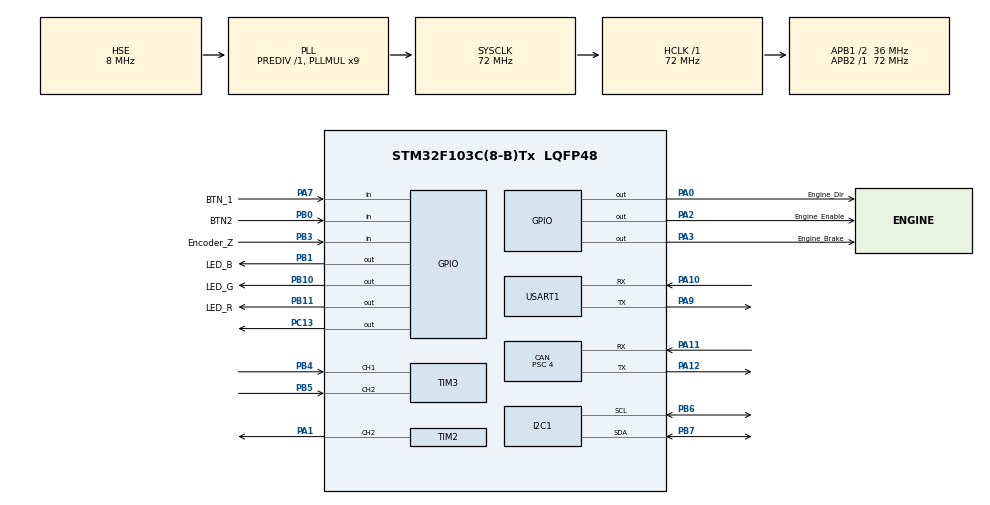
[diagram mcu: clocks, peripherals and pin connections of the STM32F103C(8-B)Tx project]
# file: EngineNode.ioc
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CAN.BS1=CAN_BS1_13TQ
CAN.BS2=CAN_BS2_4TQ
CAN.CalculateBaudRate=500000
CAN.CalculateTimeBit=2000
CAN.CalculateTimeQuantum=111.11111111111111
CAN.NART=DISABLE
CAN.Prescaler=4
CAN.SJW=CAN_SJW_1TQ
CAN.TXFP=ENABLE
Dma.I2C1_RX.2.Direction=DMA_PERIPH_TO_MEMORY
Dma.I2C1_RX.2.Instance=DMA1_Channel7
Dma.I2C1_RX.2.MemDataAlignment=DMA_MDATAALIGN_BYTE
Dma.I2C1_RX.2.MemInc=DMA_MINC_ENABLE
Dma.I2C1_RX.2.Mode=DMA_NORMAL
Dma.I2C1_RX.2.PeriphDataAlignment=DMA_PDATAALIGN_BYTE
Dma.I2C1_RX.2.PeriphInc=DMA_PINC_DISABLE
Dma.I2C1_RX.2.Priority=DMA_PRIORITY_LOW
Dma.I2C1_TX.3.Direction=DMA_MEMORY_TO_PERIPH
Dma.I2C1_TX.3.Instance=DMA1_Channel6
Dma.I2C1_TX.3.MemDataAlignment=DMA_MDATAALIGN_BYTE
Dma.I2C1_TX.3.MemInc=DMA_MINC_ENABLE
Dma.I2C1_TX.3.Mode=DMA_NORMAL
Dma.I2C1_TX.3.PeriphDataAlignment=DMA_PDATAALIGN_BYTE
Dma.I2C1_TX.3.PeriphInc=DMA_PINC_DISABLE
Dma.I2C1_TX.3.Priority=DMA_PRIORITY_LOW
Dma.MEMTOMEM.4.Direction=DMA_MEMORY_TO_MEMORY
Dma.MEMTOMEM.4.Instance=DMA1_Channel1
Dma.MEMTOMEM.4.MemDataAlignment=DMA_MDATAALIGN_BYTE
Dma.MEMTOMEM.4.MemInc=DMA_MINC_ENABLE
Dma.MEMTOMEM.4.Mode=DMA_NORMAL
Dma.MEMTOMEM.4.PeriphDataAlignment=DMA_PDATAALIGN_BYTE
Dma.MEMTOMEM.4.PeriphInc=DMA_PINC_ENABLE
Dma.MEMTOMEM.4.Priority=DMA_PRIORITY_LOW
Dma.Request0=USART1_RX
Dma.Request1=USART1_TX
Dma.Request2=I2C1_RX
Dma.Request3=I2C1_TX
Dma.Request4=MEMTOMEM
Dma.USART1_RX.0.Direction=DMA_PERIPH_TO_MEMORY
Dma.USART1_RX.0.Instance=DMA1_Channel5
Dma.USART1_RX.0.MemDataAlignment=DMA_MDATAALIGN_BYTE
Dma.USART1_RX.0.MemInc=DMA_MINC_ENABLE
Dma.USART1_RX.0.Mode=DMA_NORMAL
Dma.USART1_RX.0.PeriphDataAlignment=DMA_PDATAALIGN_BYTE
Dma.USART1_RX.0.PeriphInc=DMA_PINC_DISABLE
Dma.USART1_RX.0.Priority=DMA_PRIORITY_LOW
Dma.USART1_TX.1.Direction=DMA_MEMORY_TO_PERIPH
Dma.USART1_TX.1.Instance=DMA1_Channel4
Dma.USART1_TX.1.MemDataAlignment=DMA_MDATAALIGN_BYTE
Dma.USART1_TX.1.MemInc=DMA_MINC_ENABLE
Dma.USART1_TX.1.Mode=DMA_NORMAL
Dma.USART1_TX.1.PeriphDataAlignment=DMA_PDATAALIGN_BYTE
Dma.USART1_TX.1.PeriphInc=DMA_PINC_DISABLE
Dma.USART1_TX.1.Priority=DMA_PRIORITY_LOW
FREERTOS.INCLUDE_xEventGroupSetBitFromISR=1
FREERTOS.Tasks01=tDefault,52,200,StartDefaultTask,Default,NULL,Dynamic,NULL,NULL
FREERTOS.configENABLE_BACKWARD_COMPATIBILITY=0
FREERTOS.configMAX_TASK_NAME_LEN=12
FREERTOS.configMINIMAL_STACK_SIZE=64
FREERTOS.configTIMER_TASK_STACK_DEPTH=64
FREERTOS.configTOTAL_HEAP_SIZE=8192
FREERTOS.configUSE_NEWLIB_REENTRANT=1
FREERTOS.configUSE_TRACE_FACILITY=1
I2C1.I2C_Mode=I2C_Fast
Mcu.Family=STM32F1
Mcu.Name=STM32F103C(8-B)Tx
Mcu.Package=LQFP48
NVIC.CAN1_RX1_IRQn=true\:5\:0\:false\:false\:true\:true\:true\:true\:true
NVIC.DMA1_Channel4_IRQn=true\:5\:0\:false\:false\:true\:true\:false\:true\:true
NVIC.DMA1_Channel5_IRQn=true\:5\:0\:false\:false\:true\:true\:false\:true\:true
NVIC.DMA1_Channel6_IRQn=true\:5\:0\:false\:false\:true\:true\:false\:true\:true
NVIC.DMA1_Channel7_IRQn=true\:5\:0\:false\:false\:true\:true\:false\:true\:true
NVIC.I2C1_EV_IRQn=true\:5\:0\:false\:false\:true\:true\:true\:true\:true
NVIC.PriorityGroup=NVIC_PRIORITYGROUP_4
NVIC.TIM4_IRQn=true\:15\:0\:false\:false\:true\:false\:false\:true\:true
NVIC.TimeBase=TIM4_IRQn
NVIC.TimeBaseIP=TIM4
NVIC.USB_HP_CAN1_TX_IRQn=true\:5\:0\:true\:false\:true\:true\:true\:true\:true
NVIC.USB_LP_CAN1_RX0_IRQn=true\:5\:0\:false\:false\:true\:true\:true\:true\:true
PA0-WKUP.GPIO_Label=Engine_Dir
PA0-WKUP.Signal=GPIO_Output
PA1.Signal=S_TIM2_CH2
PA10.Mode=Asynchronous
PA10.Signal=USART1_RX
PA11.Mode=CAN_Activate
PA11.Signal=CAN_RX
PA12.Mode=CAN_Activate
PA12.Signal=CAN_TX
PA13.Mode=Serial_Wire
PA13.Signal=SYS_JTMS-SWDIO
PA14.Mode=Serial_Wire
PA14.Signal=SYS_JTCK-SWCLK
PA2.GPIO_Label=Engine_Enable
PA2.Signal=GPIO_Output
PA3.GPIO_Label=Engine_Brake
PA3.Signal=GPIO_Output
PA7.GPIO_Label=BTN_1
PA7.Signal=GPIO_Input
PA9.Mode=Asynchronous
PA9.Signal=USART1_TX
PB0.GPIO_Label=BTN2
PB0.Signal=GPIO_Input
PB1.GPIO_Label=LED_B
PB1.PinState=GPIO_PIN_SET
PB1.Signal=GPIO_Output
PB10.GPIO_Label=LED_G
PB10.PinState=GPIO_PIN_SET
PB10.Signal=GPIO_Output
PB11.GPIO_Label=LED_R
PB11.PinState=GPIO_PIN_SET
PB11.Signal=GPIO_Output
PB3.GPIO_Label=Encoder_Z
PB3.Signal=GPIO_Input
PB4.Signal=S_TIM3_CH1
PB5.Signal=S_TIM3_CH2
PB6.Mode=I2C
PB6.Signal=I2C1_SCL
PB7.Mode=I2C
PB7.Signal=I2C1_SDA
PC13-TAMPER-RTC.Signal=GPIO_Output
PD0-OSC_IN.Mode=HSE-External-Oscillator
PD0-OSC_IN.Signal=RCC_OSC_IN
PD1-OSC_OUT.Mode=HSE-External-Oscillator
PD1-OSC_OUT.Signal=RCC_OSC_OUT
ProjectManager.HeapSize=0x200
ProjectManager.StackSize=0x400
ProjectManager.TargetToolchain=STM32CubeIDE
RCC.AHBFreq_Value=72000000
RCC.APB1CLKDivider=RCC_HCLK_DIV2
RCC.APB1Freq_Value=36000000
RCC.APB1TimFreq_Value=72000000
RCC.APB2Freq_Value=72000000
RCC.APB2TimFreq_Value=72000000
RCC.HCLKFreq_Value=72000000
RCC.PLLMUL=RCC_PLL_MUL9
RCC.PLLSourceVirtual=RCC_PLLSOURCE_HSE
RCC.SYSCLKFreq_VALUE=72000000
RCC.SYSCLKSource=RCC_SYSCLKSOURCE_PLLCLK
RCC.USBFreq_Value=72000000
SH.S_TIM2_CH2.0=TIM2_CH2,PWM Generation2 CH2
SH.S_TIM3_CH1.0=TIM3_CH1,Encoder_Interface
SH.S_TIM3_CH2.0=TIM3_CH2,Encoder_Interface
TIM2.Channel-PWM\ Generation2\ CH2=TIM_CHANNEL_2
TIM3.EncoderMode=TIM_ENCODERMODE_TI12
USART1.VirtualMode=VM_ASYNC
VP_FREERTOS_VS_CMSIS_V2.Mode=CMSIS_V2
VP_SYS_VS_tim4.Mode=TIM4
board=custom

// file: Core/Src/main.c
/* USER CODE BEGIN Header */
/**
 ******************************************************************************
 * @file           : main.c
 * @brief          : Main program body
 ******************************************************************************
 * @attention
 *
 * Copyright (c) 2023 STMicroelectronics.
 * All rights reserved.
 *
 * This software is licensed under terms that can be found in the LICENSE file
 * in the root directory of this software component.
 * If no LICENSE file comes with this software, it is provided AS-IS.
 *
 ******************************************************************************
 */
/* USER CODE END Header */
#include "main.h"
#include "cmsis_os.h"

/* USER CODE BEGIN Includes */
#include "SyncPrintf/SyncPrintf.h"
#include "GPIO/GPIOHandler.h"
#include "UARTHandler/UART_Handler.h"
#include "I2CHandler/I2C_Handler.h"
#include "CANHandler/CANHandler.h"
#include "INA219/INA219.h"
#include "BNO055/bno055.h"
#include "CANFrame/CANFrame.h"
#include "PowerPublisher/PowerPublisher.h"
#include "EngineControl/EngineControl.h"
#include "Encoder/Encoder.h"
#include "MotorController/SpeedController.h"
#include "IMUPublisher/IMUPublisher.h"
#include "DataProcess/DataProcess.h"
#include "Utility/Utility.h"
#include "CAN_Handle.h"
//#include "CAN_OSI.h"
/* USER CODE END Includes */

CAN_HandleTypeDef hcan;

I2C_HandleTypeDef hi2c1;
DMA_HandleTypeDef hdma_i2c1_rx;
DMA_HandleTypeDef hdma_i2c1_tx;

TIM_HandleTypeDef htim2;
TIM_HandleTypeDef htim3;

UART_HandleTypeDef huart1;
DMA_HandleTypeDef hdma_usart1_rx;
DMA_HandleTypeDef hdma_usart1_tx;

DMA_HandleTypeDef hdma_memtomem_dma1_channel1;
/* Definitions for tDefault */
osThreadId_t tDefaultHandle;
const osThreadAttr_t tDefault_attributes = { .name = "tDefault", .stack_size =
		200 * 4, .priority = (osPriority_t) osPriorityRealtime4, };
/* USER CODE BEGIN PV */

osThreadId_t TestTaskHandle;
const osThreadAttr_t TestTask_attributes = { .name = "TestTask", .stack_size =
		200 * 4, .priority = (osPriority_t) osPriorityNormal2, };

GPIO_HandlerStruct Blinker = { .Port = GPIOC, .Pin = GPIO_PIN_13 };
GPIO_HandlerStruct BrakePin = { .Port = Engine_Brake_GPIO_Port, .Pin =
Engine_Brake_Pin };
GPIO_HandlerStruct GasEnPin = { .Port = Engine_Enable_GPIO_Port, .Pin =
Engine_Enable_Pin };
GPIO_HandlerStruct DirPin = { .Port = Engine_Dir_GPIO_Port, .Pin =
Engine_Dir_Pin };

I2C_OS_HandlerStruct mainI2C;
INA219_t INA219_main;
BNO055_HandlerStruct imuBNO055;

CAN_OS_HandlerStruct CANmain;
CANFrame_HandlerStruct CANFrame_Handler;

Encoder_HandlerStruct Encoder;
Engine_HandlerStruct Engine;
SpeedControler_HandlerStruct SpeedController;

PowerPublisher_HandlerStruct PowerPub;
//float Speed = 0;
IMUPublisher_HandlerStruct IMUPub;
float Speed;
bool SpeedOk;
uint8_t Break = 0;
bool braking = false;
float curSpeed = 0;
extern uint8_t rcdata[8];
extern uint8_t Can_RecFlag;
//float Speed = 0;
/* USER CODE END PV */

void SystemClock_Config(void);
static void MX_GPIO_Init(void);
static void MX_DMA_Init(void);
static void MX_CAN_Init(void);
static void MX_I2C1_Init(void);
static void MX_TIM2_Init(void);
static void MX_TIM3_Init(void);
static void MX_USART1_UART_Init(void);
void StartDefaultTask(void *argument);

/* USER CODE BEGIN PFP */
void TestTask(void *argument);

void CAN_TxCallback(CAN_HandleTypeDef *hcan);
void CAN_RxFifo0Callback(CAN_HandleTypeDef *hcan);

/* USER CODE END PFP */

int main(void) {

	/* MCU Configuration--------------------------------------------------------*/

	/* Reset of all peripherals, Initializes the Flash interface and the Systick. */
	HAL_Init();

	/* Configure the system clock */
	SystemClock_Config();

	/* Initialize all configured peripherals */
	MX_GPIO_Init();
	MX_DMA_Init();
	MX_CAN_Init();
	MX_I2C1_Init();
	MX_TIM2_Init();
	MX_TIM3_Init();
	MX_USART1_UART_Init();
	/* USER CODE BEGIN 2 */
//  HAL_GPIO_WritePin(Engine_Brake_GPIO_Port, Engine_Brake_Pin, 0);
//  HAL_GPIO_WritePin(Engine_Brake_GPIO_Port, Engine_Brake_Pin, 1);
	CAN_Config_filtering(0, 0x112);
	if (HAL_CAN_ActivateNotification(&hcan,
			CAN_IT_TX_MAILBOX_EMPTY | CAN_IT_RX_FIFO0_MSG_PENDING
					| CAN_IT_RX_FIFO1_MSG_PENDING) != HAL_OK) {
		HAL_CAN_ResetError(&hcan);
	}
	if (HAL_CAN_Start(&hcan) != HAL_OK) {
		HAL_CAN_ResetError(&hcan);
	}
	/* USER CODE END 2 */

	/* Init scheduler */
	osKernelInitialize();

	/* Create the thread(s) */
	/* creation of tDefault */
	tDefaultHandle = osThreadNew(StartDefaultTask, NULL, &tDefault_attributes);

	/* USER CODE BEGIN RTOS_EVENTS */
	/* add events, ... */
	SyncPrintf_Init();

	/* USER CODE END RTOS_EVENTS */

	/* Start scheduler */
	osKernelStart();

	/* We should never get here as control is now taken by the scheduler */
	/* Infinite loop */
	while (1) {

	}
}

void SystemClock_Config(void) {
	RCC_OscInitTypeDef RCC_OscInitStruct = { 0 };
	RCC_ClkInitTypeDef RCC_ClkInitStruct = { 0 };

	/** Initializes the RCC Oscillators according to the specified parameters
	 * in the RCC_OscInitTypeDef structure.
	 */
	RCC_OscInitStruct.OscillatorType = RCC_OSCILLATORTYPE_HSE;
	RCC_OscInitStruct.HSEState = RCC_HSE_ON;
	RCC_OscInitStruct.HSEPredivValue = RCC_HSE_PREDIV_DIV1;
	RCC_OscInitStruct.HSIState = RCC_HSI_ON;
	RCC_OscInitStruct.PLL.PLLState = RCC_PLL_ON;
	RCC_OscInitStruct.PLL.PLLSource = RCC_PLLSOURCE_HSE;
	RCC_OscInitStruct.PLL.PLLMUL = RCC_PLL_MUL9;
	if (HAL_RCC_OscConfig(&RCC_OscInitStruct) != HAL_OK) {
		Error_Handler();
	}

	/** Initializes the CPU, AHB and APB buses clocks
	 */
	RCC_ClkInitStruct.ClockType = RCC_CLOCKTYPE_HCLK | RCC_CLOCKTYPE_SYSCLK
			| RCC_CLOCKTYPE_PCLK1 | RCC_CLOCKTYPE_PCLK2;
	RCC_ClkInitStruct.SYSCLKSource = RCC_SYSCLKSOURCE_PLLCLK;
	RCC_ClkInitStruct.AHBCLKDivider = RCC_SYSCLK_DIV1;
	RCC_ClkInitStruct.APB1CLKDivider = RCC_HCLK_DIV2;
	RCC_ClkInitStruct.APB2CLKDivider = RCC_HCLK_DIV1;

	if (HAL_RCC_ClockConfig(&RCC_ClkInitStruct, FLASH_LATENCY_2) != HAL_OK) {
		Error_Handler();
	}
}

static void MX_CAN_Init(void) {

	hcan.Instance = CAN1;
	hcan.Init.Prescaler = 4;
	hcan.Init.Mode = CAN_MODE_NORMAL;
	hcan.Init.SyncJumpWidth = CAN_SJW_1TQ;
	hcan.Init.TimeSeg1 = CAN_BS1_13TQ;
	hcan.Init.TimeSeg2 = CAN_BS2_4TQ;
	hcan.Init.TimeTriggeredMode = DISABLE;
	hcan.Init.AutoBusOff = DISABLE;
	hcan.Init.AutoWakeUp = DISABLE;
	hcan.Init.AutoRetransmission = DISABLE;
	hcan.Init.ReceiveFifoLocked = DISABLE;
	hcan.Init.TransmitFifoPriority = ENABLE;
	if (HAL_CAN_Init(&hcan) != HAL_OK) {
		Error_Handler();
	}

}

static void MX_I2C1_Init(void) {

	hi2c1.Instance = I2C1;
	hi2c1.Init.ClockSpeed = 400000;
	hi2c1.Init.DutyCycle = I2C_DUTYCYCLE_2;
	hi2c1.Init.OwnAddress1 = 0;
	hi2c1.Init.AddressingMode = I2C_ADDRESSINGMODE_7BIT;
	hi2c1.Init.DualAddressMode = I2C_DUALADDRESS_DISABLE;
	hi2c1.Init.OwnAddress2 = 0;
	hi2c1.Init.GeneralCallMode = I2C_GENERALCALL_DISABLE;
	hi2c1.Init.NoStretchMode = I2C_NOSTRETCH_DISABLE;
	if (HAL_I2C_Init(&hi2c1) != HAL_OK) {
		Error_Handler();
	}

}

static void MX_TIM2_Init(void) {

	TIM_MasterConfigTypeDef sMasterConfig = { 0 };
	TIM_OC_InitTypeDef sConfigOC = { 0 };

	htim2.Instance = TIM2;
	htim2.Init.Prescaler = 0;
	htim2.Init.CounterMode = TIM_COUNTERMODE_UP;
	htim2.Init.Period = 65535;
	htim2.Init.ClockDivision = TIM_CLOCKDIVISION_DIV1;
	htim2.Init.AutoReloadPreload = TIM_AUTORELOAD_PRELOAD_DISABLE;
	if (HAL_TIM_PWM_Init(&htim2) != HAL_OK) {
		Error_Handler();
	}
	sMasterConfig.MasterOutputTrigger = TIM_TRGO_RESET;
	sMasterConfig.MasterSlaveMode = TIM_MASTERSLAVEMODE_DISABLE;
	if (HAL_TIMEx_MasterConfigSynchronization(&htim2, &sMasterConfig)
			!= HAL_OK) {
		Error_Handler();
	}
	sConfigOC.OCMode = TIM_OCMODE_PWM1;
	sConfigOC.Pulse = 0;
	sConfigOC.OCPolarity = TIM_OCPOLARITY_HIGH;
	sConfigOC.OCFastMode = TIM_OCFAST_DISABLE;
	if (HAL_TIM_PWM_ConfigChannel(&htim2, &sConfigOC, TIM_CHANNEL_2)
			!= HAL_OK) {
		Error_Handler();
	}
	HAL_TIM_MspPostInit(&htim2);

}

static void MX_TIM3_Init(void) {

	TIM_Encoder_InitTypeDef sConfig = { 0 };
	TIM_MasterConfigTypeDef sMasterConfig = { 0 };

	htim3.Instance = TIM3;
	htim3.Init.Prescaler = 0;
	htim3.Init.CounterMode = TIM_COUNTERMODE_UP;
	htim3.Init.Period = 65535;
	htim3.Init.ClockDivision = TIM_CLOCKDIVISION_DIV1;
	htim3.Init.AutoReloadPreload = TIM_AUTORELOAD_PRELOAD_DISABLE;
	sConfig.EncoderMode = TIM_ENCODERMODE_TI12;
	sConfig.IC1Polarity = TIM_ICPOLARITY_RISING;
	sConfig.IC1Selection = TIM_ICSELECTION_DIRECTTI;
	sConfig.IC1Prescaler = TIM_ICPSC_DIV1;
	sConfig.IC1Filter = 0;
	sConfig.IC2Polarity = TIM_ICPOLARITY_RISING;
	sConfig.IC2Selection = TIM_ICSELECTION_DIRECTTI;
	sConfig.IC2Prescaler = TIM_ICPSC_DIV1;
	sConfig.IC2Filter = 0;
	if (HAL_TIM_Encoder_Init(&htim3, &sConfig) != HAL_OK) {
		Error_Handler();
	}
	sMasterConfig.MasterOutputTrigger = TIM_TRGO_RESET;
	sMasterConfig.MasterSlaveMode = TIM_MASTERSLAVEMODE_DISABLE;
	if (HAL_TIMEx_MasterConfigSynchronization(&htim3, &sMasterConfig)
			!= HAL_OK) {
		Error_Handler();
	}

}

static void MX_USART1_UART_Init(void) {

	huart1.Instance = USART1;
	huart1.Init.BaudRate = 115200;
	huart1.Init.WordLength = UART_WORDLENGTH_8B;
	huart1.Init.StopBits = UART_STOPBITS_1;
	huart1.Init.Parity = UART_PARITY_NONE;
	huart1.Init.Mode = UART_MODE_TX_RX;
	huart1.Init.HwFlowCtl = UART_HWCONTROL_NONE;
	huart1.Init.OverSampling = UART_OVERSAMPLING_16;
	if (HAL_UART_Init(&huart1) != HAL_OK) {
		Error_Handler();
	}

}

static void MX_DMA_Init(void) {

	/* DMA controller clock enable */
	__HAL_RCC_DMA1_CLK_ENABLE();

	/* Configure DMA request hdma_memtomem_dma1_channel1 on DMA1_Channel1 */
	hdma_memtomem_dma1_channel1.Instance = DMA1_Channel1;
	hdma_memtomem_dma1_channel1.Init.Direction = DMA_MEMORY_TO_MEMORY;
	hdma_memtomem_dma1_channel1.Init.PeriphInc = DMA_PINC_ENABLE;
	hdma_memtomem_dma1_channel1.Init.MemInc = DMA_MINC_ENABLE;
	hdma_memtomem_dma1_channel1.Init.PeriphDataAlignment = DMA_PDATAALIGN_BYTE;
	hdma_memtomem_dma1_channel1.Init.MemDataAlignment = DMA_MDATAALIGN_BYTE;
	hdma_memtomem_dma1_channel1.Init.Mode = DMA_NORMAL;
	hdma_memtomem_dma1_channel1.Init.Priority = DMA_PRIORITY_LOW;
	if (HAL_DMA_Init(&hdma_memtomem_dma1_channel1) != HAL_OK) {
		Error_Handler();
	}

	/* DMA interrupt init */
	/* DMA1_Channel4_IRQn interrupt configuration */
	HAL_NVIC_SetPriority(DMA1_Channel4_IRQn, 5, 0);
	HAL_NVIC_EnableIRQ(DMA1_Channel4_IRQn);
	/* DMA1_Channel5_IRQn interrupt configuration */
	HAL_NVIC_SetPriority(DMA1_Channel5_IRQn, 5, 0);
	HAL_NVIC_EnableIRQ(DMA1_Channel5_IRQn);
	/* DMA1_Channel6_IRQn interrupt configuration */
	HAL_NVIC_SetPriority(DMA1_Channel6_IRQn, 5, 0);
	HAL_NVIC_EnableIRQ(DMA1_Channel6_IRQn);
	/* DMA1_Channel7_IRQn interrupt configuration */
	HAL_NVIC_SetPriority(DMA1_Channel7_IRQn, 5, 0);
	HAL_NVIC_EnableIRQ(DMA1_Channel7_IRQn);

}

static void MX_GPIO_Init(void) {
	GPIO_InitTypeDef GPIO_InitStruct = { 0 };

	/* GPIO Ports Clock Enable */
	__HAL_RCC_GPIOC_CLK_ENABLE();
	__HAL_RCC_GPIOD_CLK_ENABLE();
	__HAL_RCC_GPIOA_CLK_ENABLE();
	__HAL_RCC_GPIOB_CLK_ENABLE();

	/*Configure GPIO pin Output Level */
	HAL_GPIO_WritePin(GPIOC, GPIO_PIN_13, GPIO_PIN_RESET);

	/*Configure GPIO pin Output Level */
	HAL_GPIO_WritePin(GPIOA,
			Engine_Dir_Pin | Engine_Enable_Pin | Engine_Brake_Pin,
			GPIO_PIN_RESET);

	/*Configure GPIO pin Output Level */
	HAL_GPIO_WritePin(GPIOB, LED_B_Pin | LED_G_Pin | LED_R_Pin, GPIO_PIN_SET);

	/*Configure GPIO pin : PC13 */
	GPIO_InitStruct.Pin = GPIO_PIN_13;
	GPIO_InitStruct.Mode = GPIO_MODE_OUTPUT_PP;
	GPIO_InitStruct.Pull = GPIO_NOPULL;
	GPIO_InitStruct.Speed = GPIO_SPEED_FREQ_LOW;
	HAL_GPIO_Init(GPIOC, &GPIO_InitStruct);

	/*Configure GPIO pins : Engine_Dir_Pin Engine_Enable_Pin Engine_Brake_Pin */
	GPIO_InitStruct.Pin = Engine_Dir_Pin | Engine_Enable_Pin | Engine_Brake_Pin;
	GPIO_InitStruct.Mode = GPIO_MODE_OUTPUT_PP;
	GPIO_InitStruct.Pull = GPIO_NOPULL;
	GPIO_InitStruct.Speed = GPIO_SPEED_FREQ_LOW;
	HAL_GPIO_Init(GPIOA, &GPIO_InitStruct);

	/*Configure GPIO pin : BTN_1_Pin */
	GPIO_InitStruct.Pin = BTN_1_Pin;
	GPIO_InitStruct.Mode = GPIO_MODE_INPUT;
	GPIO_InitStruct.Pull = GPIO_NOPULL;
	HAL_GPIO_Init(BTN_1_GPIO_Port, &GPIO_InitStruct);

	/*Configure GPIO pins : BTN2_Pin Encoder_Z_Pin */
	GPIO_InitStruct.Pin = BTN2_Pin | Encoder_Z_Pin;
	GPIO_InitStruct.Mode = GPIO_MODE_INPUT;
	GPIO_InitStruct.Pull = GPIO_NOPULL;
	HAL_GPIO_Init(GPIOB, &GPIO_InitStruct);

	/*Configure GPIO pins : LED_B_Pin LED_G_Pin LED_R_Pin */
	GPIO_InitStruct.Pin = LED_B_Pin | LED_G_Pin | LED_R_Pin;
	GPIO_InitStruct.Mode = GPIO_MODE_OUTPUT_PP;
	GPIO_InitStruct.Pull = GPIO_NOPULL;
	GPIO_InitStruct.Speed = GPIO_SPEED_FREQ_LOW;
	HAL_GPIO_Init(GPIOB, &GPIO_InitStruct);

}

/* USER CODE BEGIN 4 */

void HAL_I2C_MemRxCpltCallback(I2C_HandleTypeDef *hi2c) {
	if (mainI2C.hi2c == hi2c) {
		I2C_OS_MEM_RxCpltCB(&mainI2C);
	}
}
void HAL_I2C_MemTxCpltCallback(I2C_HandleTypeDef *hi2c) {
	if (mainI2C.hi2c == hi2c) {
		I2C_OS_MEM_TxCpltCB(&mainI2C);
	}
}

//void CAN_TxCallback(CAN_HandleTypeDef *hcan) {
//	if (CANmain.hcan == hcan) {
//		CAN_OS_TxCplt_CB(&CANmain);
//
//	}
//}
//
//void CAN_RxFifo0Callback(CAN_HandleTypeDef *hcan) {
//	if (CANmain.hcan == hcan) {
//		CAN_OS_RxFifo0Cplt_CB(&CANmain);
//	}
//}

void TestTask(void *argument) {
	while (1) {
		if (Can_RecFlag == 1) {
			HAL_GPIO_TogglePin(LED_B_GPIO_Port, LED_B_Pin);
		}
		HAL_Delay(1000);
	}
}
/* USER CODE END 4 */

void StartDefaultTask(void *argument) {
	/* USER CODE BEGIN 5 */

	I2C_OS_Init(&mainI2C, &hi2c1);
//	CAN_OS_Init(&CANmain, &hcan);
//	CAN_OS_RegisterCB(&CANmain, CAN_OS_ActivateTxCB_ID, CAN_TxCallback);
//	CAN_OS_RegisterCB(&CANmain, CAN_OS_ActivateRxFifo0_ID, CAN_RxFifo0Callback);

	INA219_Init(&INA219_main, &mainI2C, INA219_ADDRESS_Default);
//	CANFrame_Init(&CANFrame_Handler, &CANmain, CANFRAME_ENGINE_CONTROL_ID,
//	CAN_FILTER_FIFO0);
//	CANFrame_RegCB(&CANFrame_Handler, CANFRAME_RCVCPLT_CB_ID,
//			CANFrame_RcvDoneHandler);
//	PowerPublisher_Init(&PowerPub, &INA219_main, &CANFrame_Handler, 50);
//	BNO055_Init(&imuBNO055, &mainI2C, BNO055_I2C_ADDR_HI);

	Encoder_Init(&Encoder, &htim3, 0.3, 10);
	Engine_Init(&Engine, -7200, 7200);
	Engine_ConfigTimer(&Engine, &htim2, TIM_CHANNEL_2);
	Engine_ConfigControlPin(&Engine, BrakePin, DirPin, GasEnPin);

	SpeedController_Init(&SpeedController, &Encoder, &Engine, 50);

	Encoder.EnCntTraveled = 1;
	Encoder.PulsePerMeter = 2927 * 2;
	SpeedController.PulsePerMeter = 2927 * 2;
	Encoder_Start(&Encoder, 1);
	SpeedController_SetTunings(&SpeedController, 180.0, 1.0, 35.0);
	SpeedController_Start(&SpeedController, 1);
	osThreadSetPriority(tDefaultHandle, osPriorityRealtime);
	uint8_t Data[8];
	/* Infinite loop */
	for (;;) {
		if (Can_RecFlag == 1) {
			memcpy(Data, rcdata, 8);
			switch (Data[0]) {
			case 0x23:
				switch (Data[1]) {
				case 1:
					stopEngineAndBrake(&SpeedController, &Engine);
					braking = false;
					HAL_GPIO_WritePin(LED_B_GPIO_Port, LED_B_Pin,GPIO_PIN_SET);
					break;
				default:
					braking = true;
					HAL_GPIO_WritePin(LED_B_GPIO_Port, LED_B_Pin,GPIO_PIN_RESET);
				}
				break;
			case 0x34:
				if (braking) {
					Speed = bytes2Float(Data + 1);
					if (Speed == 0) {
						stopEngineAndBrake(&SpeedController, &Engine);
					} else if (!SpeedOk && Speed == SpeedController.SetPoint) {
						SpeedOk = true;
					} else {
						SpeedOk = false;
					}

					if (!SpeedOk) {
						if (Speed > 0) {
							setSpeedAndClearBrake(&SpeedController, &Engine, Speed);
							if (!SpeedController.isEnable) {
								SpeedController_Start(&SpeedController, 1);
							}
						} else {
							SpeedController_Start(&SpeedController, 0);
							Engine_SetSpeed(&Engine,
									Speed * 4 * Engine_TIM_MaxPulse / 100);
						}
					}
				}
				break;
			}
		}
		osDelay(1);
	}
	/* USER CODE END 5 */
}

void HAL_TIM_PeriodElapsedCallback(TIM_HandleTypeDef *htim) {
	if (htim->Instance == TIM4) {
		HAL_IncTick();
	}
}

void Error_Handler(void) {
	__disable_irq();
	while (1) {
	}
}
//			memcpy(Data,rcdata,8);
//			if(Data[0]==0x23){
//				if(Data[1]==1){
//					SpeedController_SetSpeed(&SpeedController, 0);
//					SpeedController_Start(&SpeedController, 0);
//					Engine_Brake(&Engine, ENGINE_BRAKE_SET);
//					braking=false;
//				}
//				else if (Data[1]==0)
//				{
//					braking=true;
//				}
//			}
//			else if(Data[0]==0x34){
////				SpeedController_Start(&SpeedController, 0);
////				Engine_SetSpeed(&Engine, 0);
//			if(braking==true){
//				SpeedData[0]=Data[1];
//				SpeedData[1]=Data[2];
//				SpeedData[2]=Data[3];
//				SpeedData[3]=Data[4];
//			Speed=bytes2Float(SpeedData);
//			if (Speed == 0) {
//						SpeedController_SetSpeed(&SpeedController, 0);
//						SpeedController_Start(&SpeedController, 0);
//						Engine_Brake(&Engine, ENGINE_BRAKE_SET);
//					}
//					if (Speed == SpeedController.SetPoint && SpeedOk==false){
//						SpeedOk=true;
//					}
//					else
//					{
//						SpeedOk=false;
//					}
//					if(SpeedOk!=true){
//					if (Speed > 0) {
//						SpeedController_SetSpeed(&SpeedController, Speed);
//						SpeedController_Start(&SpeedController, 0);
//						Engine_Brake(&Engine, ENGINE_BRAKE_CLEAR);
//						if (SpeedController.isEnable == 0)
//							SpeedController_Start(&SpeedController, 1);
//					} else {
//			//			SpeedController_SetSpeed(&SpeedController, 0);
//						SpeedController_Start(&SpeedController, 0);
//						Engine_SetSpeed(&Engine, Speed * 4 * Engine_TIM_MaxPulse / 100);
//					}
//					}
//					HAL_GPIO_TogglePin(LED_B_GPIO_Port, LED_B_Pin);
//				}
//			}

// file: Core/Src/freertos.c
/* USER CODE BEGIN Header */
/**
 ******************************************************************************
 * File Name          : freertos.c
 * Description        : Code for freertos applications
 ******************************************************************************
 * @attention
 *
 * Copyright (c) 2023 STMicroelectronics.
 * All rights reserved.
 *
 * This software is licensed under terms that can be found in the LICENSE file
 * in the root directory of this software component.
 * If no LICENSE file comes with this software, it is provided AS-IS.
 *
 ******************************************************************************
 */
/* USER CODE END Header */

#include "FreeRTOS.h"
#include "task.h"
#include "main.h"

/* USER CODE BEGIN Includes */
#include "MotorController/SpeedController.h"
#include "DataProcess/DataProcess.h"
/* USER CODE END Includes */

/* USER CODE BEGIN Variables */
extern CAN_HandleTypeDef hcan;

//static CANConfigIDTxtypedef pIDtype;

uint8_t mess[62] = { 0 };
char Print[100] = { 0 };

osThreadId_t mMainTaskHandle;
const osThreadAttr_t mMainTask_attributes = { .name = "mMainTask", .stack_size =
		256 * 4, .priority = (osPriority_t) osPriorityNormal, };
/* Definitions for mCanRecv */
osThreadId_t mCanRecvHandle;
const osThreadAttr_t mCanRecv_attributes = { .name = "mCanRecv", .stack_size =
		256 * 4, .priority = (osPriority_t) osPriorityLow, };
/* Definitions for myDataProcessin */
osThreadId_t myDataProcessinHandle;
const osThreadAttr_t myDataProcessin_attributes = { .name = "myDataProcessin",
		.stack_size = 128 * 4, .priority = (osPriority_t) osPriorityHigh, };

extern SpeedControler_HandlerStruct SpeedController;
/* USER CODE END Variables */

/* USER CODE BEGIN FunctionPrototypes */
void MainTask(void *argument);
void CanRecv(void *argument);
void DataProcessing(void *argument);

//void MX_FREERTOS_Init(void);

/* USER CODE END FunctionPrototypes */

/* USER CODE BEGIN Application */
//void CAN_ProcessMsg(CANBufferHandleStruct *AppBuffer, uint8_t *str) {
//	uint8_t strLen = AppBuffer->NodeHandle[AppBuffer->RecvID].PacketLength - 2;
//	uint8_t ID;
//	char Data[50];
//	float Speed;
//	int res = 0;
//	if (str[0] != '#' || str[strLen - 2] != '\r' || str[strLen - 1] != '\n') {
//		return;
//	}
//
//	if (DataPack_Split((char*) str, &ID, Data) != 0) {
//		return;
//	}
//
//	switch (ID) {
//	case 1:
//		res = DataPack_GetSpeed(Data, &Speed);
//		if (res != 0)
//			return;
////		Engine_SetSpeed(&Engine, Speed * Engine_TIM_MaxPulse / 100);
//		SpeedController_SetSpeed(&SpeedController, Speed);
//		HAL_GPIO_TogglePin(LED_B_GPIO_Port, LED_B_Pin);
//		break;
//	default:
//		break;
//	}
//}

void MX_FREERTOS_Init(void) {
	mCanRecvHandle = osThreadNew(CanRecv, NULL, &mCanRecv_attributes);
	myDataProcessinHandle = osThreadNew(DataProcessing, NULL,
			&myDataProcessin_attributes);
}

void CanRecv(void *argument) {
	/* USER CODE BEGIN CanRecv */
	// FlagRecNotification FlagRec;
	/* Infinite loop */
	for (;;) {
		//CAN_Receive_Application(&Rx_Buffer, mess, &Flag, &FlagRec);
		osDelay(1);
	}
	/* USER CODE END CanRecv */
}

void DataProcessing(void *argument) {
	/* USER CODE BEGIN DataProcessing */
	/* Infinite loop */
	for (;;) {
		//if (FlagRec == REC_SUCCESS) {
//          uint32_t len = sprintf(Print, "Node 2 Rcv: %s\r\n", mess);
//           HAL_UART_Transmit(&huart1,(uint8_t*)Print,len,HAL_MAX_DELAY);
		//	if (Rx_Buffer.RecvID == NODE_ID)
			//	CAN_ProcessMsg(&Rx_Buffer, mess);
		}
		osDelay(1);
	}
	/* USER CODE END DataProcessing */

/* USER CODE END Application */
